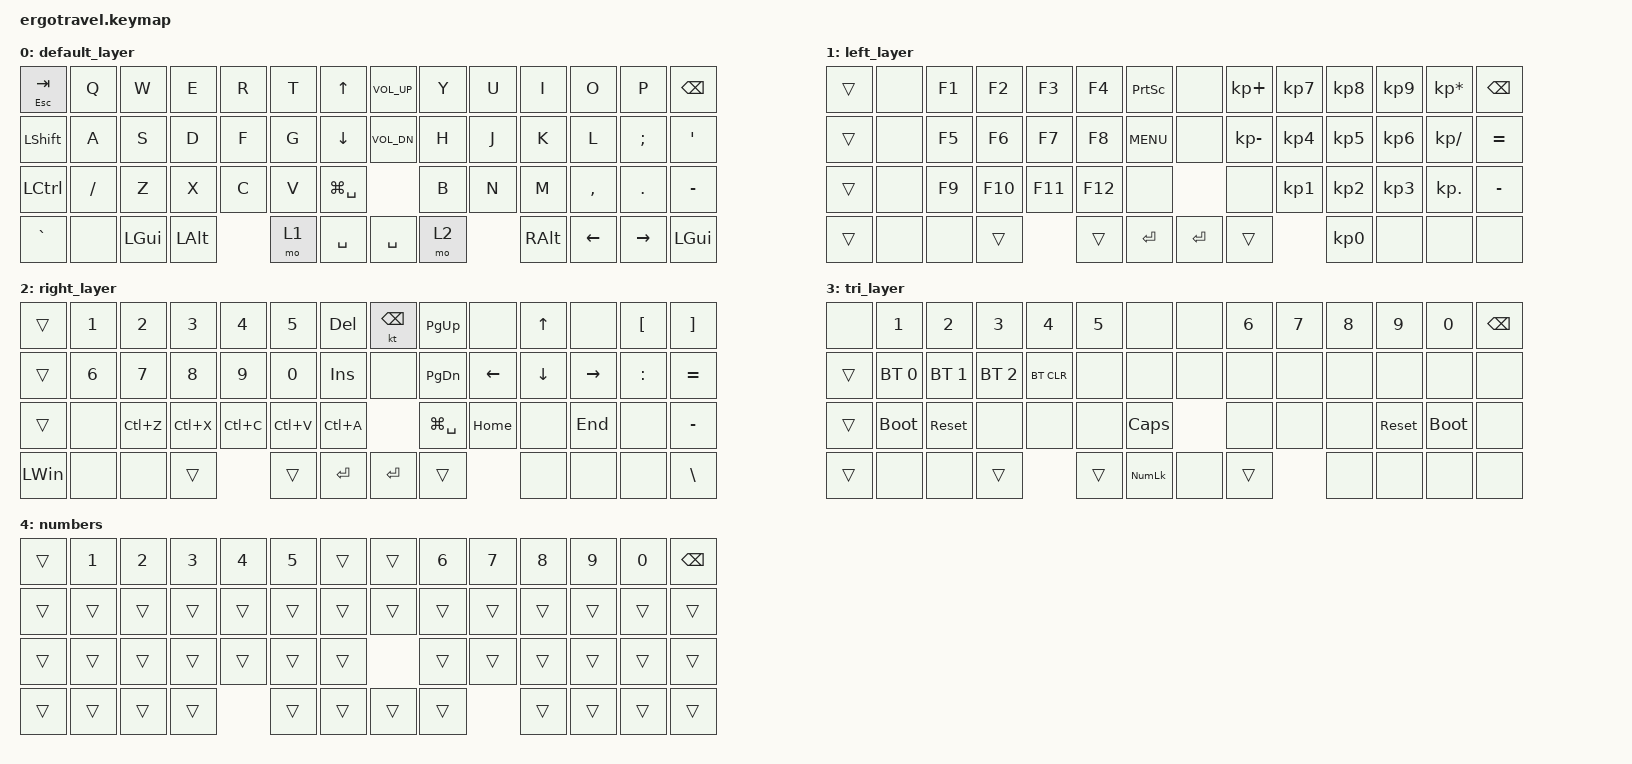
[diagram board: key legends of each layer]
/*
 * Copyright (c) 2020 The ZMK Contributors
 *
 * SPDX-License-Identifier: MIT
 */

#include <behaviors.dtsi>
#include <dt-bindings/zmk/bt.h>
#include <dt-bindings/zmk/keys.h>
#include <dt-bindings/zmk/keys.h>

#define DEFAULT 0
#define LOWER   1
#define RAISE   2
#define TRI     3

/ {
    behaviors {
    };

    combos {
        compatible = "zmk,combos";

        combo_enter {
            bindings = <&kp RET>;
            key-positions = <46 47>;
            layers = <0>;
        };

        combo_mute {
            bindings = <&kp C_MUTE>;
            key-positions = <21 7>;
        };
    };

    keymap {
        compatible = "zmk,keymap";

        default_layer {
            bindings = <
&mt ESC TAB  &kp Q      &kp W     &kp E     &kp R  &kp T  &kp UP         &kp C_VOL_UP  &kp Y  &kp U  &kp I     &kp O      &kp P      &kp BSPC
&kp LSHFT    &kp A      &kp S     &kp D     &kp F  &kp G  &kp DOWN       &kp C_VOL_DN  &kp H  &kp J  &kp K     &kp L      &kp SEMI   &kp SQT
&kp LCTRL    &kp SLASH  &kp Z     &kp X     &kp C  &kp V  &kp LG(SPACE)                &kp B  &kp N  &kp M     &kp COMMA  &kp DOT    &kp MINUS
&kp GRAVE    &none      &kp LGUI  &kp LALT         &mo 1  &kp SPACE      &kp SPACE     &mo 2         &kp RALT  &kp LEFT   &kp RIGHT  &kp LGUI
            >;
        };

        left_layer {
            bindings = <
&trans  &none  &kp F1  &kp F2   &kp F3   &kp F4   &kp PRINTSCREEN  &none      &kp KP_PLUS   &kp KP_NUMBER_7  &kp KP_NUMBER_8  &kp KP_NUMBER_9  &kp KP_MULTIPLY  &kp BACKSPACE
&trans  &none  &kp F5  &kp F6   &kp F7   &kp F8   &kp C_MENU       &none      &kp KP_MINUS  &kp KP_NUMBER_4  &kp KP_NUMBER_5  &kp KP_NUMBER_6  &kp KP_DIVIDE    &kp EQUAL
&trans  &none  &kp F9  &kp F10  &kp F11  &kp F12  &none                       &none         &kp KP_NUMBER_1  &kp KP_NUMBER_2  &kp KP_NUMBER_3  &kp KP_DOT       &kp MINUS
&trans  &none  &none   &trans            &trans   &kp ENTER        &kp ENTER  &trans                         &kp KP_NUMBER_0  &none            &none            &none
            >;
        };

        right_layer {
            bindings = <
&trans    &kp N1  &kp N2     &kp N3     &kp N4     &kp N5     &kp DEL    &kt BACKSPACE  &kp PG_UP      &none     &kp UP    &none      &kp LBKT   &kp RBKT
&trans    &kp N6  &kp N7     &kp N8     &kp N9     &kp N0     &kp INS    &none          &kp PG_DN      &kp LEFT  &kp DOWN  &kp RIGHT  &kp COLON  &kp EQUAL
&trans    &none   &kp LC(Z)  &kp LC(X)  &kp LC(C)  &kp LC(V)  &kp LC(A)                 &kp LG(SPACE)  &kp HOME  &none     &kp END    &none      &kp MINUS
&kp LWIN  &none   &none      &trans                &trans     &kp ENTER  &kp ENTER      &trans                   &none     &none      &none      &kp BACKSLASH
            >;
        };

        tri_layer {
            bindings = <
&none   &kp N1        &kp N2        &kp N3        &kp N4      &kp N5  &none           &none  &kp N6  &kp N7  &kp N8  &kp N9      &kp N0       &kp BACKSPACE
&trans  &bt BT_SEL 0  &bt BT_SEL 1  &bt BT_SEL 2  &bt BT_CLR  &none   &none           &none  &none   &none   &none   &none       &none        &none
&trans  &bootloader   &sys_reset    &none         &none       &none   &kp CLCK               &none   &none   &none   &sys_reset  &bootloader  &none
&trans  &none         &none         &trans                    &trans  &kp KP_NUMLOCK  &none  &trans          &none   &none       &none        &none
            >;
        };

        numbers {
            bindings = <
&trans  &kp N1  &kp N2  &kp N3  &kp N4  &kp N5  &trans  &trans  &kp N6  &kp N7  &kp N8  &kp N9  &kp N0  &kp BSPC
&trans  &trans  &trans  &trans  &trans  &trans  &trans  &trans  &trans  &trans  &trans  &trans  &trans  &trans
&trans  &trans  &trans  &trans  &trans  &trans  &trans          &trans  &trans  &trans  &trans  &trans  &trans
&trans  &trans  &trans  &trans          &trans  &trans  &trans  &trans          &trans  &trans  &trans  &trans
            >;
        };
    };

    conditional_layers {
        compatible = "zmk,conditional-layers";

        tri_layer {
            if-layers = <1 2>;
            then-layer = <3>;
        };
    };
};
